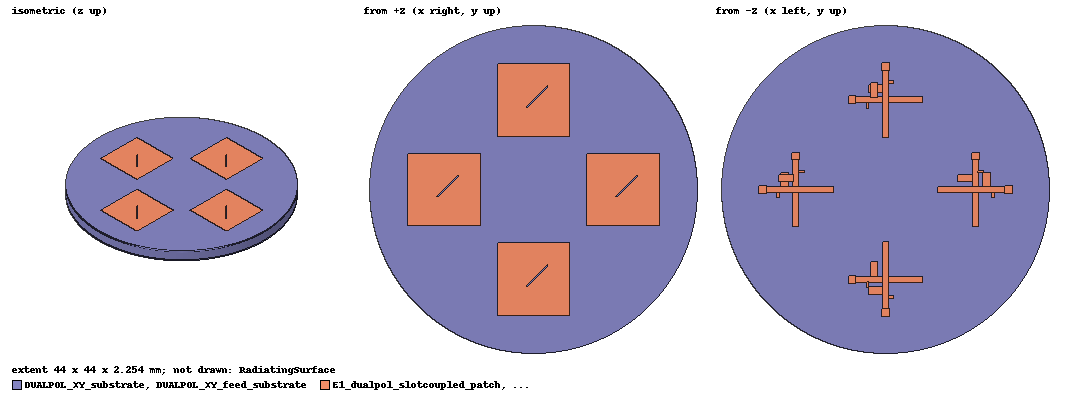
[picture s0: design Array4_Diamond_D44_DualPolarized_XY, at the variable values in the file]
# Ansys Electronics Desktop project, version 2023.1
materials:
  vacuum: permittivity=1
  RO4350B_custom_D44_Topology: permittivity=3.48 permeability=1 dielectric_loss_tangent=0.0037
  copper: permeability=0.999991 conductivity=58000000
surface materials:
  Steel-oxidised-surface

design Array4_Diamond_D44_DualPolarized_XY (HFSS, HFSS Modal Network, model units mm)
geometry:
  DUALPOL_XY_substrate [RO4350B_custom_D44_Topology] = cylinder(axis=Z, base_centre=(0mm, 0mm, 0mm), radius=22mm, height=2mm, segments=128)
  DUALPOL_XY_feed_substrate [RO4350B_custom_D44_Topology] = cylinder(axis=Z, base_centre=(0mm, 0mm, -0.254mm), radius=22mm, height=0.254mm, segments=128)
  DUALPOL_XY_bottom_ground [copper] = circle(normal=Z, centre=(0mm, 0mm, 0mm), radius=21.4mm, segments=128)
  ground_isolation_slot_1 = polyline(z=0mm, xy in mm: (2.7400388, 2.35113) (10.871767, 10.482858) (10.482858, 10.871767) (2.35113, 2.7400388) (2.7400388, 2.35113), closed, covered)
  ground_isolation_slot_2 = polyline(z=0mm, xy in mm: (-2.35113, 2.7400388) (-10.482858, 10.871767) (-10.871767, 10.482858) (-2.7400388, 2.35113) (-2.35113, 2.7400388), closed, covered)
  ground_isolation_slot_3 = polyline(z=0mm, xy in mm: (-2.7400388, -2.35113) (-10.871767, -10.482858) (-10.482858, -10.871767) (-2.35113, -2.7400388) (-2.7400388, -2.35113), closed, covered)
  ground_isolation_slot_4 = polyline(z=0mm, xy in mm: (2.35113, -2.7400388) (10.482858, -10.871767) (10.871767, -10.482858) (2.7400388, -2.35113) (2.35113, -2.7400388), closed, covered)
  E1_dualpol_slotcoupled_patch [copper] = polyline(z=2mm, xy in mm: (7.1458153, -4.875) (16.895815, -4.875) (16.895815, 4.875) (7.1458153, 4.875) (7.1458153, -4.875), closed, covered)
  E1_slotcoupled_patch_decoupling_slit = polyline(z=2mm, xy in mm: (11.099028, -1.00664) (13.927455, 1.8217872) (13.842602, 1.90664) (11.014175, -0.92178716) (11.099028, -1.00664), closed, covered)
  E1_dualpol_slotcoupled_patch.subtract(E1_slotcoupled_patch_decoupling_slit)
  E1_slotcoupled_a_aperture = polyline(z=0mm, xy in mm: (11.670815, -2.8) (12.370815, -2.8) (12.370815, 2.8) (11.670815, 2.8) (11.670815, -2.8), closed, covered)
  E1_slotcoupled_b_aperture = polyline(z=0mm, xy in mm: (9.2208153, -0.35) (14.820815, -0.35) (14.820815, 0.35) (9.2208153, 0.35) (9.2208153, -0.35), closed, covered)
  E1_slotcoupled_underfeed_neutralizer [copper] = polyline(z=-0.194mm, xy in mm: (12.400571, 1.9353911) (13.956206, 0.37975613) (14.041059, 0.46460895) (12.485424, 2.0202439) (12.400571, 1.9353911), closed, covered)
  E1_slotcoupled_a_underside_feedline [copper] = polyline(z=-0.254mm, xy in mm: (7.0208153, -0.4) (17.020815, -0.4) (17.020815, 0.4) (7.0208153, 0.4) (7.0208153, -0.4), closed, covered)
  E1_slotcoupled_b_underside_feedline [copper] = polyline(z=-0.254mm, xy in mm: (11.620815, -5) (12.420815, -5) (12.420815, 5) (11.620815, 5) (11.620815, -5), closed, covered)
  E1_slotcoupled_a_port_step [copper] = polyline(z=-0.254mm, xy in mm: (16.020815, -0.55) (17.020815, -0.55) (17.020815, 0.55) (16.020815, 0.55) (16.020815, -0.55), closed, covered)
  E1_slotcoupled_b_port_step [copper] = polyline(z=-0.254mm, xy in mm: (11.470815, 4) (12.570815, 4) (12.570815, 5) (11.470815, 5) (11.470815, 4), closed, covered)
  E1_slotcoupled_a_open_stub [copper] = polyline(z=-0.254mm, xy in mm: (13.070815, 0.37) (14.070815, 0.37) (14.070815, 2.3) (13.070815, 2.3) (13.070815, 0.37), closed, covered)
  E1_slotcoupled_b_open_stub [copper] = polyline(z=-0.254mm, xy in mm: (12.390815, 1.05) (14.320815, 1.05) (14.320815, 2.05) (12.390815, 2.05) (12.390815, 1.05), closed, covered)
  E1_slotcoupled_a_open_stub2 [copper] = polyline(z=-0.254mm, xy in mm: (14.270815, -1.1) (14.570815, -1.1) (14.570815, -0.37) (14.270815, -0.37) (14.270815, -1.1), closed, covered)
  E1_slotcoupled_b_open_stub2 [copper] = polyline(z=-0.254mm, xy in mm: (10.920815, 2.25) (11.650815, 2.25) (11.650815, 2.55) (10.920815, 2.55) (10.920815, 2.25), closed, covered)
  E1_slotcoupled_ab_cancel_a_coupler [copper] = polyline(z=-0.194mm, xy in mm: (13.220815, 0.52) (15.020815, 0.52) (15.020815, 0.64) (13.220815, 0.64) (13.220815, 0.52), closed, covered)
  E1_slotcoupled_ab_cancel_b_coupler [copper] = polyline(z=-0.194mm, xy in mm: (12.660815, 1.2) (12.660815, 3) (12.540815, 3) (12.540815, 1.2) (12.660815, 1.2), closed, covered)
  E1_slotcoupled_ab_cancel_phase_line [copper] = polyline(z=-0.194mm, xy in mm: (13.365668, 0.58) (12.600815, 1.3448528) (12.515962, 1.26) (13.280815, 0.49514719) (13.365668, 0.58), closed, covered)
  P1A_lumped_port_sheet = polyline(x=17.020815mm, yz in mm: (-0.25, -0.254) (0.25, -0.254) (0.25, 0) (-0.25, 0) (-0.25, -0.254), closed, covered)
  P1B_switch_off_load_sheet = polyline(y=5mm, xz in mm: (11.770815, -0.254) (12.270815, -0.254) (12.270815, 0) (11.770815, 0) (11.770815, -0.254), closed, covered)
  E2_dualpol_slotcoupled_patch [copper] = polyline(z=2mm, xy in mm: (-4.875, 7.1458153) (4.875, 7.1458153) (4.875, 16.895815) (-4.875, 16.895815) (-4.875, 7.1458153), closed, covered)
  E2_slotcoupled_patch_decoupling_slit = polyline(z=2mm, xy in mm: (-0.92178716, 11.014175) (1.90664, 13.842602) (1.8217872, 13.927455) (-1.00664, 11.099028) (-0.92178716, 11.014175), closed, covered)
  E2_dualpol_slotcoupled_patch.subtract(E2_slotcoupled_patch_decoupling_slit)
  E2_slotcoupled_a_aperture = polyline(z=0mm, xy in mm: (-0.35, 9.2208153) (0.35, 9.2208153) (0.35, 14.820815) (-0.35, 14.820815) (-0.35, 9.2208153), closed, covered)
  E2_slotcoupled_b_aperture = polyline(z=0mm, xy in mm: (-2.8, 11.670815) (2.8, 11.670815) (2.8, 12.370815) (-2.8, 12.370815) (-2.8, 11.670815), closed, covered)
  E2_slotcoupled_underfeed_neutralizer [copper] = polyline(z=-0.194mm, xy in mm: (0.37975613, 13.956206) (1.9353911, 12.400571) (2.0202439, 12.485424) (0.46460895, 14.041059) (0.37975613, 13.956206), closed, covered)
  E2_slotcoupled_a_underside_feedline [copper] = polyline(z=-0.254mm, xy in mm: (-5, 11.620815) (5, 11.620815) (5, 12.420815) (-5, 12.420815) (-5, 11.620815), closed, covered)
  E2_slotcoupled_b_underside_feedline [copper] = polyline(z=-0.254mm, xy in mm: (-0.4, 7.0208153) (0.4, 7.0208153) (0.4, 17.020815) (-0.4, 17.020815) (-0.4, 7.0208153), closed, covered)
  E2_slotcoupled_a_port_step [copper] = polyline(z=-0.254mm, xy in mm: (4, 11.470815) (5, 11.470815) (5, 12.570815) (4, 12.570815) (4, 11.470815), closed, covered)
  E2_slotcoupled_b_port_step [copper] = polyline(z=-0.254mm, xy in mm: (-0.55, 16.020815) (0.55, 16.020815) (0.55, 17.020815) (-0.55, 17.020815) (-0.55, 16.020815), closed, covered)
  E2_slotcoupled_a_open_stub [copper] = polyline(z=-0.254mm, xy in mm: (1.05, 12.390815) (2.05, 12.390815) (2.05, 14.320815) (1.05, 14.320815) (1.05, 12.390815), closed, covered)
  E2_slotcoupled_b_open_stub [copper] = polyline(z=-0.254mm, xy in mm: (0.37, 13.070815) (2.3, 13.070815) (2.3, 14.070815) (0.37, 14.070815) (0.37, 13.070815), closed, covered)
  E2_slotcoupled_a_open_stub2 [copper] = polyline(z=-0.254mm, xy in mm: (2.25, 10.920815) (2.55, 10.920815) (2.55, 11.650815) (2.25, 11.650815) (2.25, 10.920815), closed, covered)
  E2_slotcoupled_b_open_stub2 [copper] = polyline(z=-0.254mm, xy in mm: (-1.1, 14.270815) (-0.37, 14.270815) (-0.37, 14.570815) (-1.1, 14.570815) (-1.1, 14.270815), closed, covered)
  E2_slotcoupled_ab_cancel_a_coupler [copper] = polyline(z=-0.194mm, xy in mm: (1.2, 12.540815) (3, 12.540815) (3, 12.660815) (1.2, 12.660815) (1.2, 12.540815), closed, covered)
  E2_slotcoupled_ab_cancel_b_coupler [copper] = polyline(z=-0.194mm, xy in mm: (0.64, 13.220815) (0.64, 15.020815) (0.52, 15.020815) (0.52, 13.220815) (0.64, 13.220815), closed, covered)
  E2_slotcoupled_ab_cancel_phase_line [copper] = polyline(z=-0.194mm, xy in mm: (1.3448528, 12.600815) (0.58, 13.365668) (0.49514719, 13.280815) (1.26, 12.515962) (1.3448528, 12.600815), closed, covered)
  P2A_lumped_port_sheet = polyline(x=5mm, yz in mm: (11.770815, -0.254) (12.270815, -0.254) (12.270815, 0) (11.770815, 0) (11.770815, -0.254), closed, covered)
  P2B_switch_off_load_sheet = polyline(y=17.020815mm, xz in mm: (-0.25, -0.254) (0.25, -0.254) (0.25, 0) (-0.25, 0) (-0.25, -0.254), closed, covered)
  E3_dualpol_slotcoupled_patch [copper] = polyline(z=2mm, xy in mm: (-16.895815, -4.875) (-7.1458153, -4.875) (-7.1458153, 4.875) (-16.895815, 4.875) (-16.895815, -4.875), closed, covered)
  E3_slotcoupled_patch_decoupling_slit = polyline(z=2mm, xy in mm: (-12.942602, -1.00664) (-10.114175, 1.8217872) (-10.199028, 1.90664) (-13.027455, -0.92178716) (-12.942602, -1.00664), closed, covered)
  E3_dualpol_slotcoupled_patch.subtract(E3_slotcoupled_patch_decoupling_slit)
  E3_slotcoupled_a_aperture = polyline(z=0mm, xy in mm: (-12.370815, -2.8) (-11.670815, -2.8) (-11.670815, 2.8) (-12.370815, 2.8) (-12.370815, -2.8), closed, covered)
  E3_slotcoupled_b_aperture = polyline(z=0mm, xy in mm: (-14.820815, -0.35) (-9.2208153, -0.35) (-9.2208153, 0.35) (-14.820815, 0.35) (-14.820815, -0.35), closed, covered)
  E3_slotcoupled_underfeed_neutralizer [copper] = polyline(z=-0.194mm, xy in mm: (-13.956206, 0.37975613) (-12.400571, 1.9353911) (-12.485424, 2.0202439) (-14.041059, 0.46460895) (-13.956206, 0.37975613), closed, covered)
  E3_slotcoupled_a_underside_feedline [copper] = polyline(z=-0.254mm, xy in mm: (-17.020815, -0.4) (-7.0208153, -0.4) (-7.0208153, 0.4) (-17.020815, 0.4) (-17.020815, -0.4), closed, covered)
  E3_slotcoupled_b_underside_feedline [copper] = polyline(z=-0.254mm, xy in mm: (-12.420815, -5) (-11.620815, -5) (-11.620815, 5) (-12.420815, 5) (-12.420815, -5), closed, covered)
  E3_slotcoupled_a_port_step [copper] = polyline(z=-0.254mm, xy in mm: (-17.020815, -0.55) (-16.020815, -0.55) (-16.020815, 0.55) (-17.020815, 0.55) (-17.020815, -0.55), closed, covered)
  E3_slotcoupled_b_port_step [copper] = polyline(z=-0.254mm, xy in mm: (-12.570815, 4) (-11.470815, 4) (-11.470815, 5) (-12.570815, 5) (-12.570815, 4), closed, covered)
  E3_slotcoupled_a_open_stub [copper] = polyline(z=-0.254mm, xy in mm: (-14.070815, 0.37) (-13.070815, 0.37) (-13.070815, 2.3) (-14.070815, 2.3) (-14.070815, 0.37), closed, covered)
  E3_slotcoupled_b_open_stub [copper] = polyline(z=-0.254mm, xy in mm: (-11.650815, 1.05) (-9.7208153, 1.05) (-9.7208153, 2.05) (-11.650815, 2.05) (-11.650815, 1.05), closed, covered)
  E3_slotcoupled_a_open_stub2 [copper] = polyline(z=-0.254mm, xy in mm: (-14.570815, -1.1) (-14.270815, -1.1) (-14.270815, -0.37) (-14.570815, -0.37) (-14.570815, -1.1), closed, covered)
  E3_slotcoupled_b_open_stub2 [copper] = polyline(z=-0.254mm, xy in mm: (-13.120815, 2.25) (-12.390815, 2.25) (-12.390815, 2.55) (-13.120815, 2.55) (-13.120815, 2.25), closed, covered)
  E3_slotcoupled_ab_cancel_a_coupler [copper] = polyline(z=-0.194mm, xy in mm: (-15.020815, 0.52) (-13.220815, 0.52) (-13.220815, 0.64) (-15.020815, 0.64) (-15.020815, 0.52), closed, covered)
  E3_slotcoupled_ab_cancel_b_coupler [copper] = polyline(z=-0.194mm, xy in mm: (-12.540815, 1.2) (-12.540815, 3) (-12.660815, 3) (-12.660815, 1.2) (-12.540815, 1.2), closed, covered)
  E3_slotcoupled_ab_cancel_phase_line [copper] = polyline(z=-0.194mm, xy in mm: (-13.280815, 0.49514719) (-12.515962, 1.26) (-12.600815, 1.3448528) (-13.365668, 0.58) (-13.280815, 0.49514719), closed, covered)
  P3A_lumped_port_sheet = polyline(x=-17.020815mm, yz in mm: (-0.25, -0.254) (0.25, -0.254) (0.25, 0) (-0.25, 0) (-0.25, -0.254), closed, covered)
  P3B_switch_off_load_sheet = polyline(y=5mm, xz in mm: (-12.270815, -0.254) (-11.770815, -0.254) (-11.770815, 0) (-12.270815, 0) (-12.270815, -0.254), closed, covered)
  E4_dualpol_slotcoupled_patch [copper] = polyline(z=2mm, xy in mm: (-4.875, -16.895815) (4.875, -16.895815) (4.875, -7.1458153) (-4.875, -7.1458153) (-4.875, -16.895815), closed, covered)
  E4_slotcoupled_patch_decoupling_slit = polyline(z=2mm, xy in mm: (-0.92178716, -13.027455) (1.90664, -10.199028) (1.8217872, -10.114175) (-1.00664, -12.942602) (-0.92178716, -13.027455), closed, covered)
  E4_dualpol_slotcoupled_patch.subtract(E4_slotcoupled_patch_decoupling_slit)
  E4_slotcoupled_a_aperture = polyline(z=0mm, xy in mm: (-0.35, -14.820815) (0.35, -14.820815) (0.35, -9.2208153) (-0.35, -9.2208153) (-0.35, -14.820815), closed, covered)
  E4_slotcoupled_b_aperture = polyline(z=0mm, xy in mm: (-2.8, -12.370815) (2.8, -12.370815) (2.8, -11.670815) (-2.8, -11.670815) (-2.8, -12.370815), closed, covered)
  E4_slotcoupled_underfeed_neutralizer [copper] = polyline(z=-0.194mm, xy in mm: (0.46460895, -14.041059) (2.0202439, -12.485424) (1.9353911, -12.400571) (0.37975613, -13.956206) (0.46460895, -14.041059), closed, covered)
  E4_slotcoupled_a_underside_feedline [copper] = polyline(z=-0.254mm, xy in mm: (-5, -12.420815) (5, -12.420815) (5, -11.620815) (-5, -11.620815) (-5, -12.420815), closed, covered)
  E4_slotcoupled_b_underside_feedline [copper] = polyline(z=-0.254mm, xy in mm: (-0.4, -17.020815) (0.4, -17.020815) (0.4, -7.0208153) (-0.4, -7.0208153) (-0.4, -17.020815), closed, covered)
  E4_slotcoupled_a_port_step [copper] = polyline(z=-0.254mm, xy in mm: (4, -12.570815) (5, -12.570815) (5, -11.470815) (4, -11.470815) (4, -12.570815), closed, covered)
  E4_slotcoupled_b_port_step [copper] = polyline(z=-0.254mm, xy in mm: (-0.55, -17.020815) (0.55, -17.020815) (0.55, -16.020815) (-0.55, -16.020815) (-0.55, -17.020815), closed, covered)
  E4_slotcoupled_a_open_stub [copper] = polyline(z=-0.254mm, xy in mm: (1.05, -11.650815) (2.05, -11.650815) (2.05, -9.7208153) (1.05, -9.7208153) (1.05, -11.650815), closed, covered)
  E4_slotcoupled_b_open_stub [copper] = polyline(z=-0.254mm, xy in mm: (0.37, -14.070815) (2.3, -14.070815) (2.3, -13.070815) (0.37, -13.070815) (0.37, -14.070815), closed, covered)
  E4_slotcoupled_a_open_stub2 [copper] = polyline(z=-0.254mm, xy in mm: (2.25, -13.120815) (2.55, -13.120815) (2.55, -12.390815) (2.25, -12.390815) (2.25, -13.120815), closed, covered)
  E4_slotcoupled_b_open_stub2 [copper] = polyline(z=-0.254mm, xy in mm: (-1.1, -14.570815) (-0.37, -14.570815) (-0.37, -14.270815) (-1.1, -14.270815) (-1.1, -14.570815), closed, covered)
  E4_slotcoupled_ab_cancel_a_coupler [copper] = polyline(z=-0.194mm, xy in mm: (1.2, -12.660815) (3, -12.660815) (3, -12.540815) (1.2, -12.540815) (1.2, -12.660815), closed, covered)
  E4_slotcoupled_ab_cancel_b_coupler [copper] = polyline(z=-0.194mm, xy in mm: (0.64, -15.020815) (0.64, -13.220815) (0.52, -13.220815) (0.52, -15.020815) (0.64, -15.020815), closed, covered)
  E4_slotcoupled_ab_cancel_phase_line [copper] = polyline(z=-0.194mm, xy in mm: (1.26, -12.515962) (0.49514719, -13.280815) (0.58, -13.365668) (1.3448528, -12.600815) (1.26, -12.515962), closed, covered)
  P4A_lumped_port_sheet = polyline(x=5mm, yz in mm: (-12.270815, -0.254) (-11.770815, -0.254) (-11.770815, 0) (-12.270815, 0) (-12.270815, -0.254), closed, covered)
  P4B_switch_off_load_sheet = polyline(y=-17.020815mm, xz in mm: (-0.25, -0.254) (0.25, -0.254) (0.25, 0) (-0.25, 0) (-0.25, -0.254), closed, covered)
  DUALPOL_XY_bottom_ground.subtract(ground_isolation_slot_1..ground_isolation_slot_4, E1_slotcoupled_a_aperture, E1_slotcoupled_b_aperture, E2_slotcoupled_a_aperture, E2_slotcoupled_b_aperture, E3_slotcoupled_a_aperture, E3_slotcoupled_b_aperture, E4_slotcoupled_a_aperture, E4_slotcoupled_b_aperture)
  RadiatingSurface [vacuum] = region(absolute_offset=14.285714mm on all sides)
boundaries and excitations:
  P1B_switch_off_load: Lumped RLC Objects=P1B_switch_off_load_sheet CurrentLine{(12.020815, 5, 0) -> (12.020815, 5, -0.254)} RLC_Type=Parallel Resistance=50ohm Capacitance=8e-14f
  P2B_switch_off_load: Lumped RLC Objects=P2B_switch_off_load_sheet CurrentLine{(0, 17.020815, 0) -> (0, 17.020815, -0.254)} RLC_Type=Parallel Resistance=50ohm Capacitance=8e-14f
  P3B_switch_off_load: Lumped RLC Objects=P3B_switch_off_load_sheet CurrentLine{(-12.020815, 5, 0) -> (-12.020815, 5, -0.254)} RLC_Type=Parallel Resistance=50ohm Capacitance=8e-14f
  P4B_switch_off_load: Lumped RLC Objects=P4B_switch_off_load_sheet CurrentLine{(0, -17.020815, 0) -> (0, -17.020815, -0.254)} RLC_Type=Parallel Resistance=50ohm Capacitance=8e-14f
  DUALPOL_XY_PEC_metallization: Perfect E Objects=[DUALPOL_XY_bottom_ground, E1_dualpol_slotcoupled_patch, E1_slotcoupled_underfeed_neutralizer, E1_slotcoupled_a_underside_feedline, E1_slotcoupled_b_underside_feedline, E1_slotcoupled_a_port_step, E1_slotcoupled_b_port_step, E1_slotcoupled_a_open_stub, E1_slotcoupled_b_open_stub, E1_slotcoupled_a_open_stub2, E1_slotcoupled_b_open_stub2, E1_slotcoupled_ab_cancel_a_coupler, E1_slotcoupled_ab_cancel_b_coupler, E1_slotcoupled_ab_cancel_phase_line, E2_dualpol_slotcoupled_patch, E2_slotcoupled_underfeed_neutralizer, E2_slotcoupled_a_underside_feedline, E2_slotcoupled_b_underside_feedline, E2_slotcoupled_a_port_step, E2_slotcoupled_b_port_step, E2_slotcoupled_a_open_stub, E2_slotcoupled_b_open_stub, E2_slotcoupled_a_open_stub2, E2_slotcoupled_b_open_stub2, E2_slotcoupled_ab_cancel_a_coupler, E2_slotcoupled_ab_cancel_b_coupler, E2_slotcoupled_ab_cancel_phase_line, E3_dualpol_slotcoupled_patch, E3_slotcoupled_underfeed_neutralizer, E3_slotcoupled_a_underside_feedline, E3_slotcoupled_b_underside_feedline, E3_slotcoupled_a_port_step, E3_slotcoupled_b_port_step, E3_slotcoupled_a_open_stub, E3_slotcoupled_b_open_stub, E3_slotcoupled_a_open_stub2, E3_slotcoupled_b_open_stub2, E3_slotcoupled_ab_cancel_a_coupler, E3_slotcoupled_ab_cancel_b_coupler, E3_slotcoupled_ab_cancel_phase_line, E4_dualpol_slotcoupled_patch, E4_slotcoupled_underfeed_neutralizer, E4_slotcoupled_a_underside_feedline, E4_slotcoupled_b_underside_feedline, E4_slotcoupled_a_port_step, E4_slotcoupled_b_port_step, E4_slotcoupled_a_open_stub, E4_slotcoupled_b_open_stub, E4_slotcoupled_a_open_stub2, E4_slotcoupled_b_open_stub2, E4_slotcoupled_ab_cancel_a_coupler, E4_slotcoupled_ab_cancel_b_coupler, E4_slotcoupled_ab_cancel_phase_line]
  Open1: Radiation Objects=RadiatingSurface
  P1A: Lumped Port Objects=P1A_lumped_port_sheet LumpedPortType=Modal Modes{Mode1{IntLine{(17.020815, 0, 0) -> (17.020815, 0, -0.254)} CharImp=Zpi RenormImp=50ohm}} Impedance=50ohm
  P2A: Lumped Port Objects=P2A_lumped_port_sheet LumpedPortType=Modal Modes{Mode1{IntLine{(5, 12.020815, 0) -> (5, 12.020815, -0.254)} CharImp=Zpi RenormImp=50ohm}} Impedance=50ohm
  P3A: Lumped Port Objects=P3A_lumped_port_sheet LumpedPortType=Modal Modes{Mode1{IntLine{(-17.020815, 0, 0) -> (-17.020815, 0, -0.254)} CharImp=Zpi RenormImp=50ohm}} Impedance=50ohm
  P4A: Lumped Port Objects=P4A_lumped_port_sheet LumpedPortType=Modal Modes{Mode1{IntLine{(5, -12.020815, 0) -> (5, -12.020815, -0.254)} CharImp=Zpi RenormImp=50ohm}} Impedance=50ohm
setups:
  Setup_CH9: HfssDriven Frequency=8GHz MaxDeltaS=0.05 MaximumPasses=4 MinimumPasses=1 MinimumConvergedPasses=1 PercentRefinement=30 BasisOrder=1 PortAccuracy=2 DrivenSolverType="Direct Solver"
    sweep Sweep_CH9: 7.738GHz to 8.233GHz, 3 points; Type=Discrete SaveFields SaveRadFields
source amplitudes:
  P1A:1: 1W 0deg
  P2A:1, P3A:1, P4A:1: 0W 0deg
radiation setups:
  3D: Infinite Sphere Theta=0deg..180deg step 2deg Phi=-180deg..180deg step 2deg
  Elevation: Infinite Sphere Theta=-180deg..180deg step 1deg Phi=0deg..90deg step 90deg
  Azimuth: Infinite Sphere Theta=90deg..90deg step 0deg Phi=-180deg..180deg step 1deg
  Upper_Hemisphere_5deg: Infinite Sphere Theta=0deg..360deg step 5deg Phi=0deg..90deg step 5deg
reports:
  DUALPOL_XY_S_Parameters: dB(S(P3A:1,P3A:1)), dB(S(P2A:1,P2A:1)), dB(S(P4A:1,P4A:1)), dB(S(P1A:1,P1A:1)), dB(S(P3A:1,P2A:1)), dB(S(P3A:1,P4A:1)), dB(S(P3A:1,P1A:1)), dB(S(P2A:1,P3A:1)), dB(S(P2A:1,P4A:1)), dB(S(P2A:1,P1A:1)), dB(S(P4A:1,P3A:1)), dB(S(P4A:1,P2A:1)), dB(S(P4A:1,P1A:1)), dB(S(P1A:1,P3A:1)), dB(S(P1A:1,P2A:1)), dB(S(P1A:1,P4A:1)) vs Freq on Setup_CH9 : Sweep_CH9
  DUALPOL_XY_GainTotal_8GHz: dB(GainTotal) vs Phi, Theta on Setup_CH9 : Sweep_CH9, Upper_Hemisphere_5deg [Freq=8GHz]
  DUALPOL_XY_AxialRatio_8GHz: AxialRatioValue vs Phi, Theta on Setup_CH9 : Sweep_CH9, Upper_Hemisphere_5deg [Freq=8GHz]
